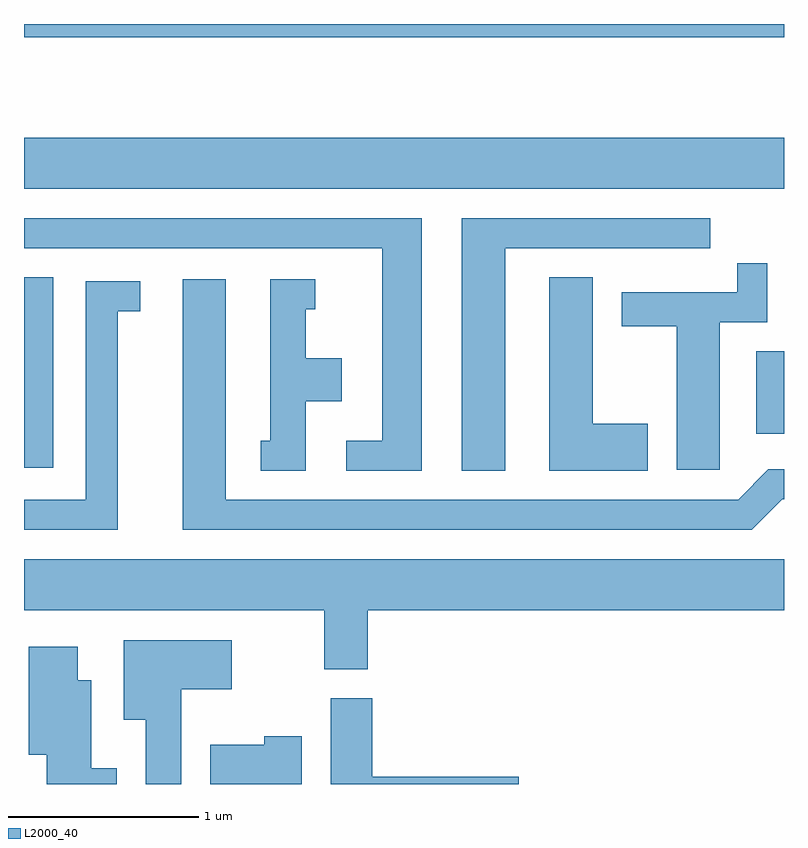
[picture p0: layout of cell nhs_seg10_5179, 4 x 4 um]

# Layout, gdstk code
import gdstk
lib = gdstk.Library(unit=1e-6, precision=1e-09)
def R(c, l, rs):  # rectangles x0, y0, x1, y1
    for r in rs: c.add(gdstk.rectangle(r[:2], r[2:], *l))
def P(c, l, *ps):  # polygons
    for p in ps: c.add(gdstk.Polygon(p, *l))
L2000_40 = (2000, 40)

nhs_seg10_5179 = lib.new_cell('nhs_seg10_5179')
R(nhs_seg10_5179, L2000_40, [(337.611,2150.186,337.764,2151.189), (341.466,2150.366,341.611,2150.799), (337.611,2151.656,341.611,2151.924), (337.611,2152.451,341.611,2152.522)])
P(nhs_seg10_5179, L2000_40, [(339.704,2151.499),(337.611,2151.499),(337.611,2151.341),(339.496,2151.341),(339.496,2150.329),(339.308,2150.329),(339.308,2150.171),(339.704,2150.171)],
  [(340.144,2151.341),(341.223,2151.341),(341.223,2151.499),(339.916,2151.499),(339.916,2150.171),(340.144,2150.171)],
  [(341.274,2150.951),(341.524,2150.951),(341.524,2151.263),(341.366,2151.263),(341.366,2151.109),(340.756,2151.109),(340.756,2150.931),(341.046,2150.931),(341.046,2150.176),(341.274,2150.176)],
  [(340.894,2150.419),(340.604,2150.419),(340.604,2151.189),(340.376,2151.189),(340.376,2150.171),(340.894,2150.171)],
  [(341.602,2150.021),(341.611,2150.021),(341.611,2150.179),(341.529,2150.179),(341.369,2150.019),(338.674,2150.019),(338.674,2151.179),(338.446,2151.179),(338.446,2149.861),(341.442,2149.861)],
  [(339.094,2150.536),(339.284,2150.536),(339.284,2150.764),(339.094,2150.764),(339.094,2151.021),(339.143,2151.021),(339.143,2151.179),(338.906,2151.179),(338.906,2150.329),(338.858,2150.329),(338.858,2150.171),(339.094,2150.171)],
  [(338.104,2151.011),(338.223,2151.011),(338.223,2151.169),(337.936,2151.169),(337.936,2150.019),(337.611,2150.019),(337.611,2149.861),(338.104,2149.861)],
  [(339.419,2149.436),(341.611,2149.436),(341.611,2149.704),(337.611,2149.704),(337.611,2149.436),(339.191,2149.436),(339.191,2149.126),(339.419,2149.126)],
  [(338.439,2149.021),(338.704,2149.021),(338.704,2149.279),(338.136,2149.279),(338.136,2148.861),(338.251,2148.861),(338.251,2148.522),(338.439,2148.522)],
  [(338.099,2148.604),(337.964,2148.604),(337.964,2149.069),(337.894,2149.069),(337.894,2149.244),(337.636,2149.244),(337.636,2148.676),(337.731,2148.676),(337.731,2148.522),(338.099,2148.522)],
  [(340.214,2148.559),(339.444,2148.559),(339.444,2148.974),(339.226,2148.974),(339.226,2148.522),(340.214,2148.522)],
  [(339.074,2148.774),(338.876,2148.774),(338.876,2148.729),(338.591,2148.729),(338.591,2148.522),(339.074,2148.522)])

lib.write_gds('nhs_seg10_5179.gds')
